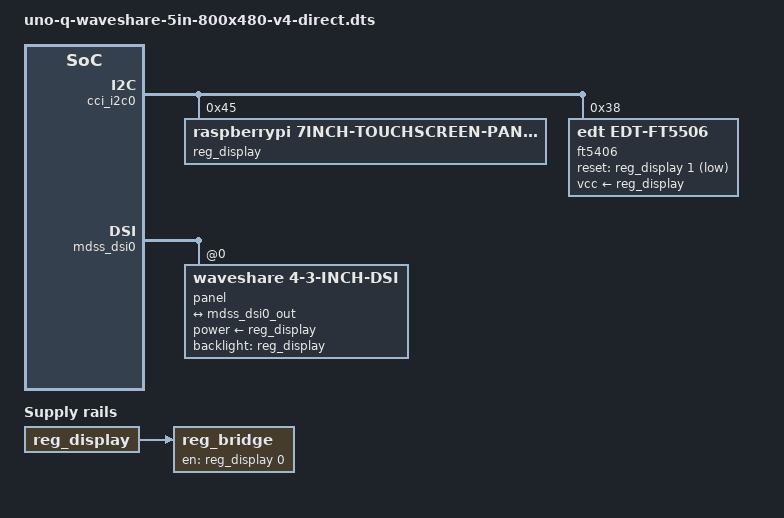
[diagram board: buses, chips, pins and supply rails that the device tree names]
// SPDX-License-Identifier: GPL-2.0
/*
 * Arduino UNO Q + UNO Media Carrier + Waveshare 800x480 DSI LCD
 * VERSION 4 - DIRECT DSI PANEL, NO BRIDGE NODE.
 *
 * Ported from Raspberry Pi's
 *   arch/arm/boot/dts/overlays/vc4-kms-dsi-waveshare-800x480-overlay.dts
 *
 * v1/v2 declared a toshiba,tc358762 bridge - wrong chip entirely.
 * v3 declared a chipone,icn6211 bridge - right chip, wrong shape: RPi does not
 * drive it as a bridge at all. The on-panel ICN6211 self-configures from its
 * own strapping, so the host simply attaches the panel as a DSI device and
 * feeds it video. Every bridge node written before this was unnecessary.
 *
 * Timings are RPi's, and differ sharply from the Pi 7" values used in v1-v3:
 *   clock 27.777 MHz (not 30)   hfp 59 (not 131)   hbp 45   vfp 7  vsync 2  vbp 22
 *   RGB888, MODE_VIDEO, ONE data lane
 *
 * These live in the patched panel-simple as "waveshare,4-3-inch-dsi" (RPi's
 * compatible for this panel), since mainline lacks RPi's generic "panel-dsi"
 * DT binding.
 *
 * Build:
 *   dtc -@ -I dts -O dtb -o uno-q-waveshare-5in-800x480-v4-direct.dtbo <this file>
 */

/dts-v1/;
/plugin/;

/ {
	/* ---- panel controller + touch on the carrier's CCI I2C ---- */
	fragment@0 {
		target = <&cci_i2c0>;
		__overlay__ {
			#address-cells = <1>;
			#size-cells = <0>;

			reg_display: regulator@45 {
				compatible = "raspberrypi,7inch-touchscreen-panel-regulator";
				reg = <0x45>;
				gpio-controller;
				#gpio-cells = <2>;
			};

			ft5406: touchscreen@38 {
				compatible = "edt,edt-ft5506";
				reg = <0x38>;
				vcc-supply = <&reg_display>;
				reset-gpio = <&reg_display 1 1>;
				touchscreen-size-x = <800>;
				touchscreen-size-y = <480>;
				touchscreen-inverted-x;
				touchscreen-inverted-y;
			};
		};
	};

	/*
	 * ---- bridge_reg ----
	 * RPi keeps this fixed regulator, gated by gpio 0 of the panel
	 * controller (the line that releases the on-panel bridge), chained
	 * behind reg_display. Kept for parity with their overlay.
	 */
	fragment@1 {
		target-path = "/";
		__overlay__ {
			reg_bridge: reg-bridge {
				compatible = "regulator-fixed";
				regulator-name = "bridge_reg";
				gpio = <&reg_display 0 0>;
				vin-supply = <&reg_display>;
				enable-active-high;
				regulator-always-on;
			};
		};
	};

	/* ---- the panel, attached DIRECTLY to the DSI host ---- */
	fragment@2 {
		target = <&mdss_dsi0>;
		__overlay__ {
			#address-cells = <1>;
			#size-cells = <0>;
			vdda-supply = <&pm4125_l5>;
			status = "okay";

			panel: panel@0 {
				compatible = "waveshare,4-3-inch-dsi";
				reg = <0>;
				power-supply = <&reg_display>;
				backlight = <&reg_display>;

				port {
					panel_in: endpoint {
						remote-endpoint = <&mdss_dsi0_out>;
					};
				};
			};
		};
	};

	/* ---- DSI host output -> the panel, one lane ---- */
	fragment@3 {
		target = <&mdss_dsi0_out>;
		__overlay__ {
			remote-endpoint = <&panel_in>;
			data-lanes = <0>;
		};
	};
};
